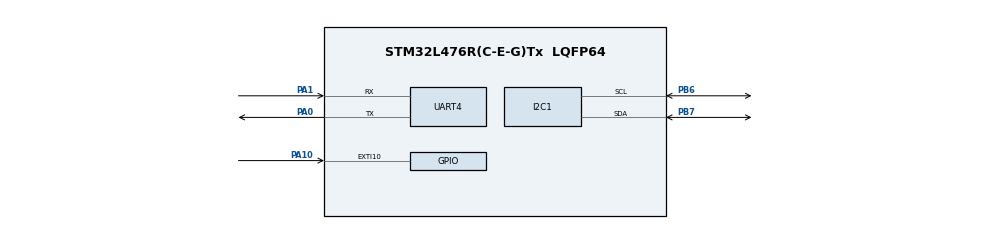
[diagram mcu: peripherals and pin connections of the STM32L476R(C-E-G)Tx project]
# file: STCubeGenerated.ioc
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Mcu.Family=STM32L4
Mcu.Name=STM32L476R(C-E-G)Tx
Mcu.Package=LQFP64
NVIC.EXTI15_10_IRQn=true\:0\:0\:false\:false\:true\:true
NVIC.PriorityGroup=NVIC_PRIORITYGROUP_4
PA0.Mode=Asynchronous
PA0.Signal=UART4_TX
PA1.Mode=Asynchronous
PA1.Signal=UART4_RX
PA10.GPIO_ModeDefaultEXTI=GPIO_MODE_IT_FALLING
PA10.Signal=GPXTI10
PA13\ (JTMS-SWDIO).Mode=Serial_Wire
PA13\ (JTMS-SWDIO).Signal=SYS_JTMS-SWDIO
PA14\ (JTCK-SWCLK).Mode=Serial_Wire
PA14\ (JTCK-SWCLK).Signal=SYS_JTCK-SWCLK
PB6.Mode=I2C
PB6.Signal=I2C1_SCL
PB7.Mode=I2C
PB7.Signal=I2C1_SDA
ProjectManager.HeapSize=0x200
ProjectManager.StackSize=0x400
ProjectManager.TargetToolchain=Makefile
RCC.HSE_VALUE=8000000
RCC.HSI_VALUE=16000000
RCC.LSE_VALUE=32768
RCC.MSI_VALUE=4000000
RCC.VCOOutputFreq_Value=32000000
UART4.WordLength=WORDLENGTH_8B
board=STCubeGenerated

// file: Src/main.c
/**
  ******************************************************************************
  * File Name          : main.c
  * Description        : Main program body
  ******************************************************************************
  ** This notice applies to any and all portions of this file
  * that are not between comment pairs USER CODE BEGIN and
  * USER CODE END. Other portions of this file, whether
  * inserted by the user or by software development tools
  * are owned by their respective copyright owners.
  *
  * COPYRIGHT(c) 2018 STMicroelectronics
  *
  * Redistribution and use in source and binary forms, with or without modification,
  * are permitted provided that the following conditions are met:
  *   1. Redistributions of source code must retain the above copyright notice,
  *      this list of conditions and the following disclaimer.
  *   2. Redistributions in binary form must reproduce the above copyright notice,
  *      this list of conditions and the following disclaimer in the documentation
  *      and/or other materials provided with the distribution.
  *   3. Neither the name of STMicroelectronics nor the names of its contributors
  *      may be used to endorse or promote products derived from this software
  *      without specific prior written permission.
  *
  * THIS SOFTWARE IS PROVIDED BY THE COPYRIGHT HOLDERS AND CONTRIBUTORS "AS IS"
  * AND ANY EXPRESS OR IMPLIED WARRANTIES, INCLUDING, BUT NOT LIMITED TO, THE
  * IMPLIED WARRANTIES OF MERCHANTABILITY AND FITNESS FOR A PARTICULAR PURPOSE ARE
  * DISCLAIMED. IN NO EVENT SHALL THE COPYRIGHT HOLDER OR CONTRIBUTORS BE LIABLE
  * FOR ANY DIRECT, INDIRECT, INCIDENTAL, SPECIAL, EXEMPLARY, OR CONSEQUENTIAL
  * DAMAGES (INCLUDING, BUT NOT LIMITED TO, PROCUREMENT OF SUBSTITUTE GOODS OR
  * SERVICES; LOSS OF USE, DATA, OR PROFITS; OR BUSINESS INTERRUPTION) HOWEVER
  * CAUSED AND ON ANY THEORY OF LIABILITY, WHETHER IN CONTRACT, STRICT LIABILITY,
  * OR TORT (INCLUDING NEGLIGENCE OR OTHERWISE) ARISING IN ANY WAY OUT OF THE USE
  * OF THIS SOFTWARE, EVEN IF ADVISED OF THE POSSIBILITY OF SUCH DAMAGE.
  *
  ******************************************************************************
  */

#include "main.h"
#include "stm32l4xx_hal.h"

/* USER CODE BEGIN Includes */
#include "C:\Users\Lex-alviur\Desktop\interrupt_plus_UART\max30101_new.h.h"
/* USER CODE END Includes */

I2C_HandleTypeDef hi2c1;

UART_HandleTypeDef huart4;

/* USER CODE BEGIN PV */
/* Private variables ---------------------------------------------------------*/
volatile char ppgReady = 1;

// macros para frame
#define FRAME_UART_START 0xAA
#define FRAME_UART_END 0x55

#define FRAME_UART_SIZE_SAMPLE 0x03
#define FRAME_UART_SIZE_START 0x01
#define FRAME_UART_SIZE_END 0x01
#define FRAME_UART_SIZE_FRAME FRAME_UART_SIZE_START + FRAME_UART_SIZE_SAMPLE + FRAME_UART_SIZE_END

#define FRAME_UART_ADD_SAMPLE FRAME_UART_SIZE_START
#define FRAME_UART_ADD_START  0
#define FRAME_UART_ADD_END FRAME_UART_SIZE_START + FRAME_UART_SIZE_SAMPLE

uint8_t frame[FRAME_UART_SIZE_FRAME]={0};

/* USER CODE END PV */

void SystemClock_Config(void);
static void MX_GPIO_Init(void);
static void MX_I2C1_Init(void);
static void MX_UART4_Init(void);

/* USER CODE BEGIN PFP */
/* Private function prototypes -----------------------------------------------*/

/* USER CODE END PFP */

int main(void)
{

  /* USER CODE BEGIN 1 */
	int errorCode=0;

	frame[FRAME_UART_ADD_START] = FRAME_UART_START;
	frame[FRAME_UART_ADD_END] = FRAME_UART_END;

  /* USER CODE END 1 */

  /* MCU Configuration----------------------------------------------------------*/

  /* Reset of all peripherals, Initializes the Flash interface and the Systick. */
  HAL_Init();

  /* Configure the system clock */
  SystemClock_Config();

  /* Initialize all configured peripherals */
  MX_GPIO_Init();
  MX_I2C1_Init();
  MX_UART4_Init();

  /* USER CODE BEGIN 2 */
	errorCode=max30101_init();
  /* USER CODE END 2 */

  /* Infinite loop */
  /* USER CODE BEGIN WHILE */
	max30101_on();
//	max30101_off();
//	max30101_on();
//
	max30101_sample_fetch(frame + FRAME_UART_ADD_SAMPLE, MAX30101_BYTES_PER_CHANNEL);
  while (1)
  {
  /* USER CODE END WHILE */

  /* USER CODE BEGIN 3 */
		// if a sample is ready get it
	  //max30101_sample_fetch(&fifo_data);
		if(ppgReady){

			ppgReady = 0;
			max30101_sample_fetch( frame + FRAME_UART_ADD_SAMPLE, MAX30101_BYTES_PER_CHANNEL);

			HAL_UART_Transmit(&huart4, frame, FRAME_UART_SIZE_FRAME, 5000);
		}

  }
  /* USER CODE END 3 */

}

/** System Clock Configuration
*/
void SystemClock_Config(void)
{

  RCC_OscInitTypeDef RCC_OscInitStruct;
  RCC_ClkInitTypeDef RCC_ClkInitStruct;
  RCC_PeriphCLKInitTypeDef PeriphClkInit;

    /**Initializes the CPU, AHB and APB busses clocks
    */
  RCC_OscInitStruct.OscillatorType = RCC_OSCILLATORTYPE_MSI;
  RCC_OscInitStruct.MSIState = RCC_MSI_ON;
  RCC_OscInitStruct.MSICalibrationValue = 0;
  RCC_OscInitStruct.MSIClockRange = RCC_MSIRANGE_6;
  RCC_OscInitStruct.PLL.PLLState = RCC_PLL_NONE;
  if (HAL_RCC_OscConfig(&RCC_OscInitStruct) != HAL_OK)
  {
    _Error_Handler(__FILE__, __LINE__);
  }

    /**Initializes the CPU, AHB and APB busses clocks
    */
  RCC_ClkInitStruct.ClockType = RCC_CLOCKTYPE_HCLK|RCC_CLOCKTYPE_SYSCLK
                              |RCC_CLOCKTYPE_PCLK1|RCC_CLOCKTYPE_PCLK2;
  RCC_ClkInitStruct.SYSCLKSource = RCC_SYSCLKSOURCE_MSI;
  RCC_ClkInitStruct.AHBCLKDivider = RCC_SYSCLK_DIV1;
  RCC_ClkInitStruct.APB1CLKDivider = RCC_HCLK_DIV1;
  RCC_ClkInitStruct.APB2CLKDivider = RCC_HCLK_DIV1;

  if (HAL_RCC_ClockConfig(&RCC_ClkInitStruct, FLASH_LATENCY_0) != HAL_OK)
  {
    _Error_Handler(__FILE__, __LINE__);
  }

  PeriphClkInit.PeriphClockSelection = RCC_PERIPHCLK_UART4|RCC_PERIPHCLK_I2C1;
  PeriphClkInit.Uart4ClockSelection = RCC_UART4CLKSOURCE_PCLK1;
  PeriphClkInit.I2c1ClockSelection = RCC_I2C1CLKSOURCE_PCLK1;
  if (HAL_RCCEx_PeriphCLKConfig(&PeriphClkInit) != HAL_OK)
  {
    _Error_Handler(__FILE__, __LINE__);
  }

    /**Configure the main internal regulator output voltage
    */
  if (HAL_PWREx_ControlVoltageScaling(PWR_REGULATOR_VOLTAGE_SCALE1) != HAL_OK)
  {
    _Error_Handler(__FILE__, __LINE__);
  }

    /**Configure the Systick interrupt time
    */
  HAL_SYSTICK_Config(HAL_RCC_GetHCLKFreq()/1000);

    /**Configure the Systick
    */
  HAL_SYSTICK_CLKSourceConfig(SYSTICK_CLKSOURCE_HCLK);

  /* SysTick_IRQn interrupt configuration */
  HAL_NVIC_SetPriority(SysTick_IRQn, 0, 0);
}

/* I2C1 init function */
static void MX_I2C1_Init(void)
{

  hi2c1.Instance = I2C1;
  hi2c1.Init.Timing = 0x00000E14;
  hi2c1.Init.OwnAddress1 = 0;
  hi2c1.Init.AddressingMode = I2C_ADDRESSINGMODE_7BIT;
  hi2c1.Init.DualAddressMode = I2C_DUALADDRESS_DISABLE;
  hi2c1.Init.OwnAddress2 = 0;
  hi2c1.Init.OwnAddress2Masks = I2C_OA2_NOMASK;
  hi2c1.Init.GeneralCallMode = I2C_GENERALCALL_DISABLE;
  hi2c1.Init.NoStretchMode = I2C_NOSTRETCH_DISABLE;
  if (HAL_I2C_Init(&hi2c1) != HAL_OK)
  {
    _Error_Handler(__FILE__, __LINE__);
  }

    /**Configure Analogue filter
    */
  if (HAL_I2CEx_ConfigAnalogFilter(&hi2c1, I2C_ANALOGFILTER_ENABLE) != HAL_OK)
  {
    _Error_Handler(__FILE__, __LINE__);
  }

    /**Configure Digital filter
    */
  if (HAL_I2CEx_ConfigDigitalFilter(&hi2c1, 0) != HAL_OK)
  {
    _Error_Handler(__FILE__, __LINE__);
  }

}

/* UART4 init function */
static void MX_UART4_Init(void)
{

  huart4.Instance = UART4;
  huart4.Init.BaudRate = 115200;
  huart4.Init.WordLength = UART_WORDLENGTH_8B;
  huart4.Init.StopBits = UART_STOPBITS_1;
  huart4.Init.Parity = UART_PARITY_NONE;
  huart4.Init.Mode = UART_MODE_TX_RX;
  huart4.Init.HwFlowCtl = UART_HWCONTROL_NONE;
  huart4.Init.OverSampling = UART_OVERSAMPLING_16;
  huart4.Init.OneBitSampling = UART_ONE_BIT_SAMPLE_DISABLE;
  huart4.AdvancedInit.AdvFeatureInit = UART_ADVFEATURE_NO_INIT;
  if (HAL_UART_Init(&huart4) != HAL_OK)
  {
    _Error_Handler(__FILE__, __LINE__);
  }

}

/** Configure pins as
        * Analog
        * Input
        * Output
        * EVENT_OUT
        * EXTI
*/
static void MX_GPIO_Init(void)
{

  GPIO_InitTypeDef GPIO_InitStruct;

  /* GPIO Ports Clock Enable */
  __HAL_RCC_GPIOA_CLK_ENABLE();
  __HAL_RCC_GPIOB_CLK_ENABLE();

  /*Configure GPIO pin : PA10 */
  GPIO_InitStruct.Pin = GPIO_PIN_10;
  GPIO_InitStruct.Mode = GPIO_MODE_IT_FALLING;
  GPIO_InitStruct.Pull = GPIO_NOPULL;
  HAL_GPIO_Init(GPIOA, &GPIO_InitStruct);

  /* EXTI interrupt init*/
  HAL_NVIC_SetPriority(EXTI15_10_IRQn, 0, 0);
  HAL_NVIC_EnableIRQ(EXTI15_10_IRQn);

}

/* USER CODE BEGIN 4 */
void HAL_GPIO_EXTI_Callback(uint16_t GPIO_Pin)
{

  if (GPIO_Pin == GPIO_PIN_10)
  {
		ppgReady = 1;
  }
}
/* USER CODE END 4 */

void _Error_Handler(char * file, int line)
{
  while(1)
  {
  }
}

/************************ (C) COPYRIGHT STMicroelectronics *****END OF FILE****/
